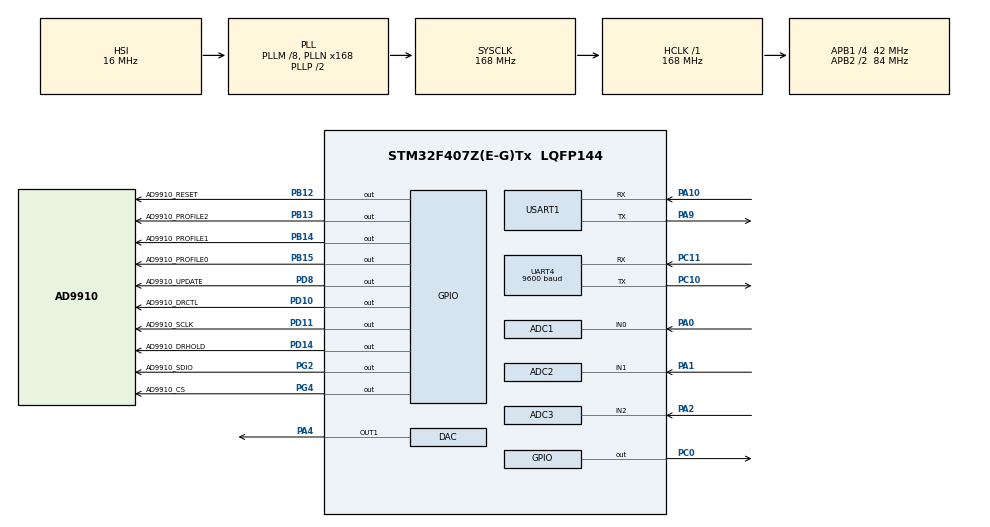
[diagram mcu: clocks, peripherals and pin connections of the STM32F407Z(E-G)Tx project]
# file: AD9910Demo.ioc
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ADC1.Channel-0\#ChannelRegularConversion=ADC_CHANNEL_0
ADC1.ExternalTrigConv=ADC_EXTERNALTRIGCONV_T3_TRGO
ADC1.NbrOfConversionFlag=1
ADC1.Rank-0\#ChannelRegularConversion=1
ADC1.SamplingTime-0\#ChannelRegularConversion=ADC_SAMPLETIME_3CYCLES
ADC1.master=1
ADC2.Channel-0\#ChannelRegularConversion=ADC_CHANNEL_1
ADC2.DMAContinuousRequests=ENABLE
ADC2.ExternalTrigConv=ADC_EXTERNALTRIGCONV_T2_TRGO
ADC2.NbrOfConversionFlag=1
ADC2.Rank-0\#ChannelRegularConversion=1
ADC2.SamplingTime-0\#ChannelRegularConversion=ADC_SAMPLETIME_3CYCLES
ADC3.Channel-0\#ChannelRegularConversion=ADC_CHANNEL_2
ADC3.ClockPrescaler=ADC_CLOCK_SYNC_PCLK_DIV4
ADC3.DMAContinuousRequests=ENABLE
ADC3.ExternalTrigConv=ADC_EXTERNALTRIGCONV_T2_TRGO
ADC3.NbrOfConversionFlag=1
ADC3.Rank-0\#ChannelRegularConversion=1
ADC3.SamplingTime-0\#ChannelRegularConversion=ADC_SAMPLETIME_3CYCLES
DAC.DAC_Trigger=DAC_TRIGGER_T6_TRGO
Dma.ADC1.0.Direction=DMA_PERIPH_TO_MEMORY
Dma.ADC1.0.FIFOMode=DMA_FIFOMODE_DISABLE
Dma.ADC1.0.Instance=DMA2_Stream0
Dma.ADC1.0.MemDataAlignment=DMA_MDATAALIGN_HALFWORD
Dma.ADC1.0.MemInc=DMA_MINC_ENABLE
Dma.ADC1.0.Mode=DMA_NORMAL
Dma.ADC1.0.PeriphDataAlignment=DMA_PDATAALIGN_HALFWORD
Dma.ADC1.0.PeriphInc=DMA_PINC_DISABLE
Dma.ADC1.0.Priority=DMA_PRIORITY_LOW
Dma.ADC2.1.Direction=DMA_PERIPH_TO_MEMORY
Dma.ADC2.1.FIFOMode=DMA_FIFOMODE_DISABLE
Dma.ADC2.1.Instance=DMA2_Stream2
Dma.ADC2.1.MemDataAlignment=DMA_MDATAALIGN_HALFWORD
Dma.ADC2.1.MemInc=DMA_MINC_ENABLE
Dma.ADC2.1.Mode=DMA_NORMAL
Dma.ADC2.1.PeriphDataAlignment=DMA_PDATAALIGN_HALFWORD
Dma.ADC2.1.PeriphInc=DMA_PINC_DISABLE
Dma.ADC2.1.Priority=DMA_PRIORITY_LOW
Dma.ADC3.3.Direction=DMA_PERIPH_TO_MEMORY
Dma.ADC3.3.FIFOMode=DMA_FIFOMODE_DISABLE
Dma.ADC3.3.Instance=DMA2_Stream1
Dma.ADC3.3.MemDataAlignment=DMA_MDATAALIGN_HALFWORD
Dma.ADC3.3.MemInc=DMA_MINC_ENABLE
Dma.ADC3.3.Mode=DMA_CIRCULAR
Dma.ADC3.3.PeriphDataAlignment=DMA_PDATAALIGN_HALFWORD
Dma.ADC3.3.PeriphInc=DMA_PINC_DISABLE
Dma.ADC3.3.Priority=DMA_PRIORITY_LOW
Dma.DAC1.2.Direction=DMA_MEMORY_TO_PERIPH
Dma.DAC1.2.FIFOMode=DMA_FIFOMODE_DISABLE
Dma.DAC1.2.Instance=DMA1_Stream5
Dma.DAC1.2.MemDataAlignment=DMA_MDATAALIGN_HALFWORD
Dma.DAC1.2.MemInc=DMA_MINC_ENABLE
Dma.DAC1.2.Mode=DMA_CIRCULAR
Dma.DAC1.2.PeriphDataAlignment=DMA_PDATAALIGN_HALFWORD
Dma.DAC1.2.PeriphInc=DMA_PINC_DISABLE
Dma.DAC1.2.Priority=DMA_PRIORITY_LOW
Dma.Request0=ADC1
Dma.Request1=ADC2
Dma.Request2=DAC1
Dma.Request3=ADC3
Mcu.Family=STM32F4
Mcu.Name=STM32F407Z(E-G)Tx
Mcu.Package=LQFP144
NVIC.DMA1_Stream5_IRQn=true\:0\:0\:false\:false\:true\:false\:true\:true
NVIC.DMA2_Stream0_IRQn=true\:0\:0\:false\:false\:true\:false\:true\:true
NVIC.DMA2_Stream1_IRQn=true\:0\:0\:false\:false\:true\:false\:true\:true
NVIC.DMA2_Stream2_IRQn=true\:0\:0\:false\:false\:true\:false\:true\:true
NVIC.PriorityGroup=NVIC_PRIORITYGROUP_4
NVIC.UART4_IRQn=true\:0\:0\:false\:false\:true\:true\:true\:true
PA0-WKUP.Signal=ADCx_IN0
PA1.Signal=ADCx_IN1
PA10.Mode=Asynchronous
PA10.Signal=USART1_RX
PA13.Mode=Serial_Wire
PA13.Signal=SYS_JTMS-SWDIO
PA14.Mode=Serial_Wire
PA14.Signal=SYS_JTCK-SWCLK
PA2.Signal=ADCx_IN2
PA4.Signal=COMP_DAC1_group
PA9.Mode=Asynchronous
PA9.Signal=USART1_TX
PB12.GPIO_Label=AD9910_RESET
PB12.Signal=GPIO_Output
PB13.GPIO_Label=AD9910_PROFILE2
PB13.Signal=GPIO_Output
PB14.GPIO_Label=AD9910_PROFILE1
PB14.Signal=GPIO_Output
PB15.GPIO_Label=AD9910_PROFILE0
PB15.Signal=GPIO_Output
PC0.GPIO_ModeDefaultOutputPP=GPIO_MODE_OUTPUT_OD
PC0.GPIO_PuPd=GPIO_NOPULL
PC0.Signal=GPIO_Output
PC10.Mode=Asynchronous
PC10.Signal=UART4_TX
PC11.Mode=Asynchronous
PC11.Signal=UART4_RX
PD10.GPIO_Label=AD9910_DRCTL
PD10.Signal=GPIO_Output
PD11.GPIO_Label=AD9910_SCLK
PD11.Signal=GPIO_Output
PD14.GPIO_Label=AD9910_DRHOLD
PD14.Signal=GPIO_Output
PD8.GPIO_Label=AD9910_UPDATE
PD8.Signal=GPIO_Output
PG2.GPIO_Label=AD9910_SDIO
PG2.Signal=GPIO_Output
PG4.GPIO_Label=AD9910_CS
PG4.Signal=GPIO_Output
PH0-OSC_IN.Mode=HSE-External-Oscillator
PH0-OSC_IN.Signal=RCC_OSC_IN
PH1-OSC_OUT.Mode=HSE-External-Oscillator
PH1-OSC_OUT.Signal=RCC_OSC_OUT
ProjectManager.HeapSize=0x400
ProjectManager.StackSize=0x1000
ProjectManager.TargetToolchain=CMake
RCC.48MHZClocksFreq_Value=84000000
RCC.AHBFreq_Value=168000000
RCC.APB1CLKDivider=RCC_HCLK_DIV4
RCC.APB1Freq_Value=42000000
RCC.APB1TimFreq_Value=84000000
RCC.APB2CLKDivider=RCC_HCLK_DIV2
RCC.APB2Freq_Value=84000000
RCC.APB2TimFreq_Value=168000000
RCC.CortexFreq_Value=168000000
RCC.HCLKFreq_Value=168000000
RCC.HSE_VALUE=8000000
RCC.HSI_VALUE=16000000
RCC.LSE_VALUE=32768
RCC.PLLM=8
RCC.PLLN=168
RCC.SYSCLKFreq_VALUE=168000000
RCC.SYSCLKSource=RCC_SYSCLKSOURCE_PLLCLK
RCC.VCOOutputFreq_Value=336000000
SH.ADCx_IN0.0=ADC1_IN0,IN0
SH.ADCx_IN1.0=ADC2_IN1,IN1
SH.ADCx_IN2.0=ADC3_IN2,IN2
SH.COMP_DAC1_group.0=DAC_OUT1,DAC_OUT1
STMicroelectronics.X-CUBE-ALGOBUILD.1.4.0.LibraryCcDSPOoLibraryJjDSPOoLibrary=true
TIM2.AutoReloadPreload=TIM_AUTORELOAD_PRELOAD_ENABLE
TIM2.Period=20-1
TIM2.TIM_MasterOutputTrigger=TIM_TRGO_UPDATE
TIM3.AutoReloadPreload=TIM_AUTORELOAD_PRELOAD_ENABLE
TIM3.Period=80-1
TIM3.TIM_MasterOutputTrigger=TIM_TRGO_UPDATE
TIM6.AutoReloadPreload=TIM_AUTORELOAD_PRELOAD_ENABLE
TIM6.Period=20-1
TIM6.TIM_MasterOutputTrigger=TIM_TRGO_UPDATE
UART4.BaudRate=9600
UART4.VirtualMode=Asynchronous
USART1.VirtualMode=VM_ASYNC
VP_STMicroelectronics.X-CUBE-ALGOBUILD_VS_DSPOoLibraryJjLibrary_1.4.0_1.4.0.Mode=DSPOoLibraryJjLibrary
VP_TIM2_VS_ClockSourceINT.Mode=Internal
VP_TIM3_VS_ClockSourceINT.Mode=Internal
VP_TIM6_VS_ClockSourceINT.Mode=Enable_Timer
board=custom

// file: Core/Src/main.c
/* USER CODE BEGIN Header */
/**
  ******************************************************************************
  * @file           : main.c
  * @brief          : Main program body
  ******************************************************************************
  * @attention
  *
  * Copyright (c) 2025 STMicroelectronics.
  * All rights reserved.
  *
  * This software is licensed under terms that can be found in the LICENSE file
  * in the root directory of this software component.
  * If no LICENSE file comes with this software, it is provided AS-IS.
  *
  ******************************************************************************
  */
/* USER CODE END Header */
#include "main.h"
#include "adc.h"
#include "dac.h"
#include "dma.h"
#include "tim.h"
#include "usart.h"
#include "gpio.h"

/* USER CODE BEGIN Includes */
#include "AD9910.h"
#include <stdio.h> // For printf, if using semihosting or similar for debugging
#include "utils.h"
#include "VppFFTMeu.h"
#include "sample.h"
#include "hmi.h"
#include "Correct.h"
#include "screen.h"

#include "app_config.h"
#include "system_identification.h"
#include "realtime_filter.h"
#include "iir_filter_design.h"
/* USER CODE END Includes */

/* USER CODE BEGIN PTD */
// Application mode to switch between identification and filtering
typedef enum {
    APP_MODE_IDENTIFICATION,
    APP_MODE_FILTERING
} AppMode_t;

/* USER CODE END PTD */

void SystemClock_Config(void);

/* USER CODE BEGIN 0 */

//======================================================================================
// ??????
//======================================================================================
AccurateFFT_Handle fft_handle;      // FFT??????
float32_t test_input_signal[FFT_SIZE]; // ????????????
float32_t test_input_signal2[FFT_SIZE * 2]; // ????????????

volatile AppMode_t g_app_mode = APP_MODE_IDENTIFICATION;
volatile SysMode_t sys_mode = SYS_BASIC_OUTPUT; // ????

//======================================================================================
// ????????
//======================================================================================
void generate_test_signal(float32_t* p_buffer, uint16_t size);
void ProcessADCData();

void set2to1Mode(uint8_t sel) {
    HAL_GPIO_WritePin(GPIOC, GPIO_PIN_0, sel ? GPIO_PIN_SET : GPIO_PIN_RESET);
}

/* USER CODE END 0 */

int main(void)
{

  /* MCU Configuration--------------------------------------------------------*/

  /* Reset of all peripherals, Initializes the Flash interface and the Systick. */
  HAL_Init();

  /* Configure the system clock */
  SystemClock_Config();

  /* Initialize all configured peripherals */
  MX_GPIO_Init();
  MX_DMA_Init();
  MX_USART1_UART_Init();
  MX_ADC1_Init();
  MX_TIM3_Init();
  MX_UART4_Init();
  MX_ADC2_Init();
  MX_DAC_Init();
  MX_TIM2_Init();
  MX_TIM6_Init();
  MX_ADC3_Init();
  /* USER CODE BEGIN 2 */
  // HAL_Delay(100); // ??????????????????
  VisualTFT_Init(); // ???????????
  Init_AD9910(); // ?????AD9910
//   AD9910_Set_Sine_Wave(1000, 16383 * 1.0f / MAX_DDS_VPP);
//   DDSOutputCorrSamInBord(1000, 2.0f);
//   dacSampleBoardCorr();
//   dacSampleBoardError();

//   SampleInBoardCorr();
//   SampleInBoardError();
//   SampleDDSBoardCorr();
//   SampleDDSBoardCorrError();
  // float32_t vpp = MeasureAdcInputVpp();
  // float32_t vppCorr = ADCSampleInputCorr(100, vpp);

  // vpp = MeasureAdcInputVpp();
  // vppCorr = ADCSampleInputCorr(300, vpp);

  // vpp = MeasureAdcInputVpp();
  // vppCorr = ADCSampleInputCorr(3000, vpp);

  // vpp = MeasureAdcInputVpp();
  // vppCorr = ADCSampleInputCorr(100000, vpp);

  // DDSOutputCorrSamInBord(100, 1.0f);
  // DDSOutputCorrSamInBord(100, 1.1f);
  // DDSOutputCorrSamInBord(100, 1.3f);
  // DDSOutputCorrSamInBord(100, 1.5f);
  // DDSOutputCorrSamInBord(100, 1.7f);
  // DDSOutputCorrSamInBord(100, 1.9f);
  // DDSOutputCorrSamInBord(100, 2.0f);

  // SweepKnownBoardHs();
  // Init_AD9910();
  // AD9910_Set_Sine_Wave(1000, 16383 * 1.0f / MAX_DDS_VPP); // ?????????????100kHz???????16383?????3.3V??
  // HAL_Delay(100); // ??????????????????
  // float32_t vpp = MeasureAdcInputVpp();

  // --- STAGE 1: SYSTEM IDENTIFICATION ---

  /* USER CODE END 2 */

  /* Infinite loop */
  /* USER CODE BEGIN WHILE */
  static SysMode_t previous_sys_mode = SYS_WAITING; // ?????????????????????
  static int filter_initialized = 0; // ????????????? initialized ???

  while (1)
  {
    VisualTFT_Poll();

    /* USER CODE END WHILE */

    /* USER CODE BEGIN 3 */
    // ==============================================================================
    // ?????????????????
    // ==============================================================================
    // ???????????????????????????????
    if (sys_mode != previous_sys_mode)
    {
        // --- a. ?????????????????? ---
        if (previous_sys_mode == SYS_PERFORMANCE_OUTPUT)
        {
            RealtimeFilter_Stop(); // ???????OUTPUT???????
            filter_initialized = 0; // ?????????????????
            printf("Stopped Real-time Filter.\n");
            SendText(4, 4, "");
        }

        // --- b. ????????????????? ---
        switch (sys_mode)
        {
            case SYS_PERFORMANCE_LEARN:
                set2to1Mode(0);
                g_app_mode = APP_MODE_IDENTIFICATION;
                SysId_Init(); // ??????LEARN???????????
                printf("Entering LEARN mode, SysId initialized.\n");
                break;

            case SYS_PERFORMANCE_LEARN_DONE:

                FilterType_t filter_type = SysId_GetFinalFilterType(); // ?????????????????
                if(filter_type == FILTER_TYPE_LPF) {
                    SendText(4, 4, "��ͨ�˲���");
                }
                else if(filter_type == FILTER_TYPE_HPF) {
                    SendText(4, 4, "��ͨ�˲���");
                }
                else if(filter_type == FILTER_TYPE_BPF) {
                    SendText(4, 4, "��ͨ�˲���");
                }
                else if(filter_type == FILTER_TYPE_BSF) {
                    SendText(4, 4, "�����˲���");
                }
                else {
                    SendText(4, 4, "");
                }
                break;
            case SYS_PERFORMANCE_OUTPUT:
                set2to1Mode(1);
                if (!filter_initialized) // ????????????
                {
                    printf("Entering OUTPUT mode, configuring filter...\n");
                    g_app_mode = APP_MODE_FILTERING;

                    FilterParams_t_double fitted_params = SysId_GetFittedParams();
                    // FilterParams_t_double fitted_params;
                    // fitted_params.k = 0.9688;
                    // fitted_params.w0 = 2*PI * 20.83; // 20.83 Hz
                    // fitted_params.q = 0.0010;
                    // FilterType_t filter_type = FILTER_TYPE_BPF;
                    FilterType_t filter_type = SysId_GetPreliminaryFilterType(); // ????
                    BiquadCoeffs iir_coeffs;

                    design_biquad_filter(
                        (FilterType_t)filter_type,
                        fitted_params.k, fitted_params.w0 / 2 / PI, fitted_params.q,
                        REALTIME_SAMPLING_RATE, &iir_coeffs);

                    RealtimeFilter_Init(&iir_coeffs);
                    RealtimeFilter_Start();
                    filter_initialized = 1;
                    printf("Filter configured and started.\n");

                }
                break;

            // ????????????????????
            case SYS_BASIC_OUTPUT:

            case SYS_BASIC_HS_OUTPUT:
                // ...
                break;
            default:
                // ?????????????????
                break;
        }

        // --- c. ??????????????????? ---
        previous_sys_mode = sys_mode;
    }

    // ==============================================================================
    // ?????????????????????????????????
    // ==============================================================================
    if (sys_mode == SYS_PERFORMANCE_LEARN)
    {
        // ????????????????????????while?????????
        // ??????????????????????????????????
        if (!SysId_IsDone())
        {
            SysId_RunStateMachine();
        }
        else
        {
            // ?????????????????????????
            printf("\nSystem Identification complete!\n");
            sys_mode = SYS_PERFORMANCE_LEARN_DONE; // ????????????????
        }
    }

  }
  /* USER CODE END 3 */
}

void SystemClock_Config(void)
{
  RCC_OscInitTypeDef RCC_OscInitStruct = {0};
  RCC_ClkInitTypeDef RCC_ClkInitStruct = {0};

  /** Configure the main internal regulator output voltage
  */
  __HAL_RCC_PWR_CLK_ENABLE();
  __HAL_PWR_VOLTAGESCALING_CONFIG(PWR_REGULATOR_VOLTAGE_SCALE1);

  /** Initializes the RCC Oscillators according to the specified parameters
  * in the RCC_OscInitTypeDef structure.
  */
  RCC_OscInitStruct.OscillatorType = RCC_OSCILLATORTYPE_HSI;
  RCC_OscInitStruct.HSIState = RCC_HSI_ON;
  RCC_OscInitStruct.HSICalibrationValue = RCC_HSICALIBRATION_DEFAULT;
  RCC_OscInitStruct.PLL.PLLState = RCC_PLL_ON;
  RCC_OscInitStruct.PLL.PLLSource = RCC_PLLSOURCE_HSI;
  RCC_OscInitStruct.PLL.PLLM = 8;
  RCC_OscInitStruct.PLL.PLLN = 168;
  RCC_OscInitStruct.PLL.PLLP = RCC_PLLP_DIV2;
  RCC_OscInitStruct.PLL.PLLQ = 4;
  if (HAL_RCC_OscConfig(&RCC_OscInitStruct) != HAL_OK)
  {
    Error_Handler();
  }

  /** Initializes the CPU, AHB and APB buses clocks
  */
  RCC_ClkInitStruct.ClockType = RCC_CLOCKTYPE_HCLK|RCC_CLOCKTYPE_SYSCLK
                              |RCC_CLOCKTYPE_PCLK1|RCC_CLOCKTYPE_PCLK2;
  RCC_ClkInitStruct.SYSCLKSource = RCC_SYSCLKSOURCE_PLLCLK;
  RCC_ClkInitStruct.AHBCLKDivider = RCC_SYSCLK_DIV1;
  RCC_ClkInitStruct.APB1CLKDivider = RCC_HCLK_DIV4;
  RCC_ClkInitStruct.APB2CLKDivider = RCC_HCLK_DIV2;

  if (HAL_RCC_ClockConfig(&RCC_ClkInitStruct, FLASH_LATENCY_5) != HAL_OK)
  {
    Error_Handler();
  }
}

/* USER CODE BEGIN 4 */
void ProcessADCData(){
  for(int i = 0; i < ADC_DMA_BUFFER_SIZE; i++) {
      // ??ADC1??ADC2???????????????????
      test_input_signal[i] = 3.3f * (float32_t)(ADC1_Buffer[i]) / 4095.0f; // ????ADC??????12????????????3.3V
  }

  // ???Arm?????????????????
  float32_t mean_value;
  arm_mean_f32(test_input_signal, ADC_DMA_BUFFER_SIZE, &mean_value);
  for(int i = 0; i < ADC_DMA_BUFFER_SIZE; i++) {
      test_input_signal[i] -= mean_value; // ?????????
  }
}
void generate_test_signal(float32_t* p_buffer, uint16_t size)
{
    float32_t time_step = 1.0f / SAMPLING_RATE;
    for (int i = 0; i < size; i++) {
        p_buffer[i] = SIGNAL_AMPLITUDE * arm_sin_f32(2 * PI * SIGNAL_FREQUENCY * i * time_step);
    }
}

// --- Top-Level Interrupt Service Routine Callbacks ---
// These callbacks redirect to the appropriate module based on the current app mode.

void HAL_ADC_ConvCpltCallback(ADC_HandleTypeDef* hadc) {
    if (g_app_mode == APP_MODE_IDENTIFICATION) {
        SysId_ADCCallback();
    } else { // APP_MODE_FILTERING
        RealtimeFilter_ADCFullCpltCallback();
    }
    adc_status = ADC_FINISHED;
}

void HAL_ADC_ConvHalfCpltCallback(ADC_HandleTypeDef* hadc) {
    if (g_app_mode == APP_MODE_FILTERING) {
        RealtimeFilter_ADCHalfCpltCallback();
    }
    // No action in identification mode for half complete
}
// In main.c

void HAL_ADC_ErrorCallback(ADC_HandleTypeDef *hadc) {
    if (g_app_mode == APP_MODE_IDENTIFICATION) {
        SysId_ADCErrorCallback(); // <--- ?????????
    } else if (g_app_mode == APP_MODE_FILTERING) {
        RealtimeFilter_ADCErrorCallback();
    }
}
/* USER CODE END 4 */

void Error_Handler(void)
{
  __disable_irq();
  while (1)
  {
  }
}
